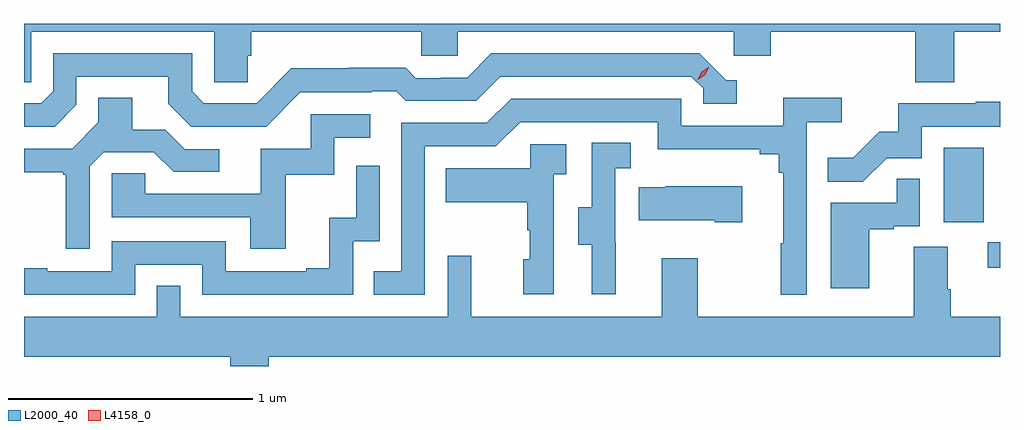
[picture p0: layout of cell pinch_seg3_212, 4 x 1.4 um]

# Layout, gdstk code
import gdstk
lib = gdstk.Library(unit=1e-6, precision=1e-09)
def R(c, l, rs):  # rectangles x0, y0, x1, y1
    for r in rs: c.add(gdstk.rectangle(r[:2], r[2:], *l))
def P(c, l, *ps):  # polygons
    for p in ps: c.add(gdstk.Polygon(p, *l))
L2000_40 = (2000, 40)
L4158_0 = (4158, 0)

pinch_seg3_212 = lib.new_cell('pinch_seg3_212')
R(pinch_seg3_212, L2000_40, [(943.875,747.9,943.925,748.005), (943.694,748.086,943.858,748.393)])
P(pinch_seg3_212, L2000_40, [(939.954,748.868),(940.704,748.868),(940.704,748.66),(940.841,748.66),(940.841,748.77),(940.856,748.77),(940.856,748.868),(941.553,748.868),(941.553,748.77),(941.703,748.77),(941.703,748.868),(942.834,748.868),(942.834,748.77),(942.986,748.77),(942.986,748.868),(943.577,748.868),(943.577,748.66),(943.737,748.66),(943.737,748.868),(943.925,748.868),(943.925,748.9),(939.925,748.9),(939.925,748.66),(939.954,748.66)],
  [(940.14,748.569),(940.14,748.683),(940.517,748.683),(940.517,748.573),(940.611,748.479),(940.917,748.479),(941.058,748.62),(941.351,748.62),(941.351,748.623),(941.45,748.623),(941.489,748.584),(941.778,748.584),(941.877,748.683),(942.66,748.683),(942.708,748.635),(942.708,748.572),(942.847,748.572),(942.847,748.668),(942.804,748.668),(942.693,748.779),(941.84,748.779),(941.741,748.68),(941.634,748.68),(941.634,748.677),(941.531,748.677),(941.489,748.72),(941.256,748.72),(941.256,748.717),(941.02,748.717),(940.878,748.575),(940.662,748.575),(940.614,748.623),(940.614,748.779),(940.044,748.779),(940.044,748.623),(939.996,748.575),(939.925,748.575),(939.925,748.479),(940.05,748.479)],
  [(941.568,748.398),(941.859,748.398),(941.958,748.497),(942.522,748.497),(942.522,748.385),(942.941,748.385),(942.941,748.366),(943.018,748.366),(943.018,748.289),(943.037,748.289),(943.037,748.001),(943.026,748.001),(943.026,747.789),(943.134,747.789),(943.134,748.496),(943.276,748.496),(943.276,748.598),(943.037,748.598),(943.037,748.482),(942.618,748.482),(942.618,748.593),(941.921,748.593),(941.822,748.494),(941.472,748.494),(941.472,747.885),(941.359,747.885),(941.359,747.789),(941.568,747.789)],
  [(940.194,748.317),(940.251,748.374),(940.457,748.374),(940.538,748.293),(940.726,748.293),(940.726,748.386),(940.584,748.386),(940.504,748.466),(940.369,748.466),(940.369,748.598),(940.229,748.598),(940.229,748.496),(940.122,748.389),(939.925,748.389),(939.925,748.292),(940.086,748.292),(940.086,748.281),(940.097,748.281),(940.097,747.978),(940.194,747.978)],
  [(943.461,748.35),(943.605,748.35),(943.605,748.479),(943.925,748.479),(943.925,748.58),(943.825,748.58),(943.825,748.575),(943.507,748.575),(943.507,748.458),(943.43,748.458),(943.323,748.351),(943.219,748.351),(943.219,748.252),(943.363,748.252)],
  [(940.997,748.281),(941.196,748.281),(941.196,748.434),(941.344,748.434),(941.344,748.53),(941.1,748.53),(941.1,748.389),(940.895,748.389),(940.895,748.203),(940.421,748.203),(940.421,748.287),(940.284,748.287),(940.284,748.107),(940.853,748.107),(940.853,747.978),(940.997,747.978)],
  [(942.35,748.005),(942.348,748.005),(942.348,748.309),(942.412,748.309),(942.412,748.412),(942.252,748.412),(942.252,748.149),(942.197,748.149),(942.197,747.994),(942.251,747.994),(942.251,747.792),(942.35,747.792)],
  [(942.096,748.283),(942.148,748.283),(942.148,748.407),(942,748.407),(942,748.309),(941.653,748.309),(941.653,748.169),(941.988,748.169),(941.988,748.055),(941.998,748.055),(941.998,747.936),(941.972,747.936),(941.972,747.792),(942.096,747.792)],
  [(940.38,747.912),(940.656,747.912),(940.656,747.789),(941.274,747.789),(941.274,748.008),(941.382,748.008),(941.382,748.318),(941.286,748.318),(941.286,748.106),(941.177,748.106),(941.177,747.898),(941.081,747.898),(941.081,747.885),(940.752,747.885),(940.752,748.008),(940.284,748.008),(940.284,747.885),(940.021,747.885),(940.021,747.898),(939.925,747.898),(939.925,747.789),(940.38,747.789)],
  [(943.39,748.059),(943.49,748.059),(943.49,748.071),(943.596,748.071),(943.596,748.265),(943.501,748.265),(943.501,748.167),(943.232,748.167),(943.232,747.816),(943.39,747.816)],
  [(942.868,748.234),(942.553,748.234),(942.553,748.231),(942.445,748.231),(942.445,748.094),(942.755,748.094),(942.755,748.087),(942.868,748.087)],
  [(940.928,747.536),(943.925,747.536),(943.925,747.7),(943.724,747.7),(943.724,747.812),(943.711,747.812),(943.711,747.986),(943.571,747.986),(943.571,747.7),(942.687,747.7),(942.687,747.94),(942.539,747.94),(942.539,747.7),(941.759,747.7),(941.759,747.949),(941.661,747.949),(941.661,747.7),(940.566,747.7),(940.566,747.827),(940.47,747.827),(940.47,747.7),(939.925,747.7),(939.925,747.536),(940.771,747.536),(940.771,747.497),(940.928,747.497)])
P(pinch_seg3_212, L4158_0, [(942.684,748.669),(942.684,748.669),(942.7,748.702),(942.73,748.722),(942.731,748.722),(942.731,748.721),(942.715,748.689),(942.684,748.669)])

lib.write_gds('pinch_seg3_212.gds')
